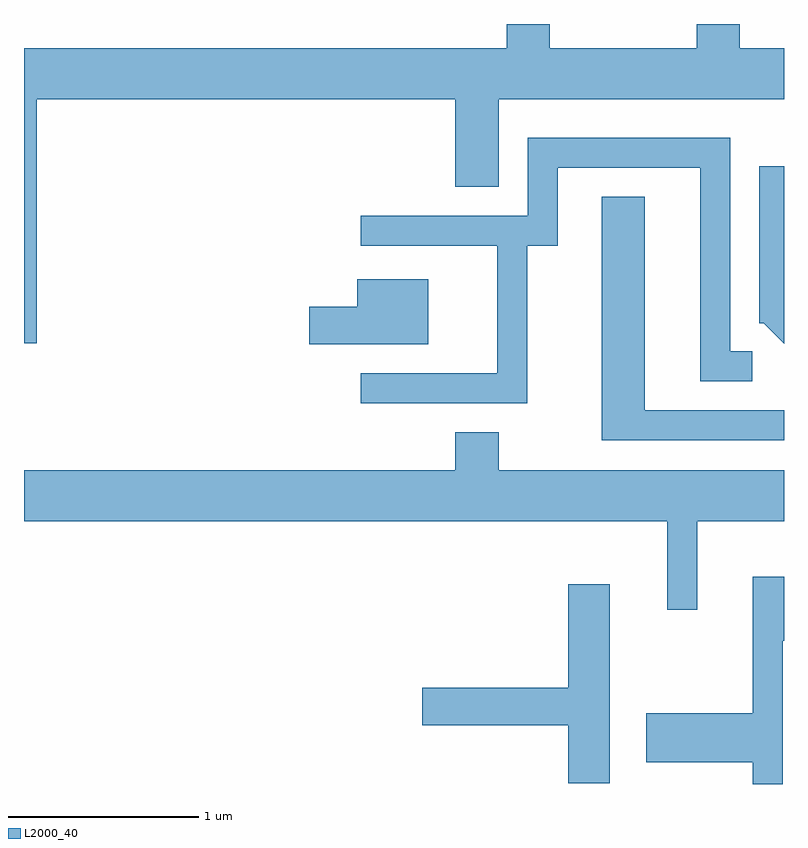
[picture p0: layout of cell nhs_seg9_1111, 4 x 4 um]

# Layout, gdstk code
import gdstk
lib = gdstk.Library(unit=1e-6, precision=1e-09)
def P(c, l, *ps):  # polygons
    for p in ps: c.add(gdstk.Polygon(p, *l))
L2000_40 = (2000, 40)

nhs_seg9_1111 = lib.new_cell('nhs_seg9_1111')
P(nhs_seg9_1111, L2000_40, [(217.679,1994.036),(219.881,1994.036),(219.881,1993.576),(220.109,1993.576),(220.109,1994.036),(221.611,1994.036),(221.611,1994.304),(221.379,1994.304),(221.379,1994.432),(221.151,1994.432),(221.151,1994.304),(220.379,1994.304),(220.379,1994.432),(220.151,1994.432),(220.151,1994.304),(217.611,1994.304),(217.611,1992.751),(217.679,1992.751)],
  [(220.259,1993.266),(220.419,1993.266),(220.419,1993.676),(221.171,1993.676),(221.171,1992.551),(221.443,1992.551),(221.443,1992.709),(221.329,1992.709),(221.329,1993.834),(220.261,1993.834),(220.261,1993.424),(219.383,1993.424),(219.383,1993.266),(220.101,1993.266),(220.101,1992.594),(219.383,1992.594),(219.383,1992.436),(220.259,1992.436)],
  [(221.611,1993.684),(221.481,1993.684),(221.481,1992.856),(221.504,1992.856),(221.611,1992.749)],
  [(221.611,1992.399),(220.879,1992.399),(220.879,1993.524),(220.651,1993.524),(220.651,1992.241),(221.611,1992.241)],
  [(219.739,1993.089),(219.366,1993.089),(219.366,1992.944),(219.111,1992.944),(219.111,1992.746),(219.739,1992.746)],
  [(221.154,1991.816),(221.611,1991.816),(221.611,1992.084),(220.109,1992.084),(220.109,1992.284),(219.881,1992.284),(219.881,1992.084),(217.611,1992.084),(217.611,1991.816),(220.996,1991.816),(220.996,1991.348),(221.154,1991.348)],
  [(221.604,1991.186),(221.611,1991.186),(221.611,1991.524),(221.446,1991.524),(221.446,1990.804),(220.886,1990.804),(220.886,1990.546),(221.446,1990.546),(221.446,1990.432),(221.604,1990.432)],
  [(220.694,1991.484),(220.476,1991.484),(220.476,1990.939),(219.706,1990.939),(219.706,1990.741),(220.476,1990.741),(220.476,1990.436),(220.694,1990.436)])

lib.write_gds('nhs_seg9_1111.gds')
